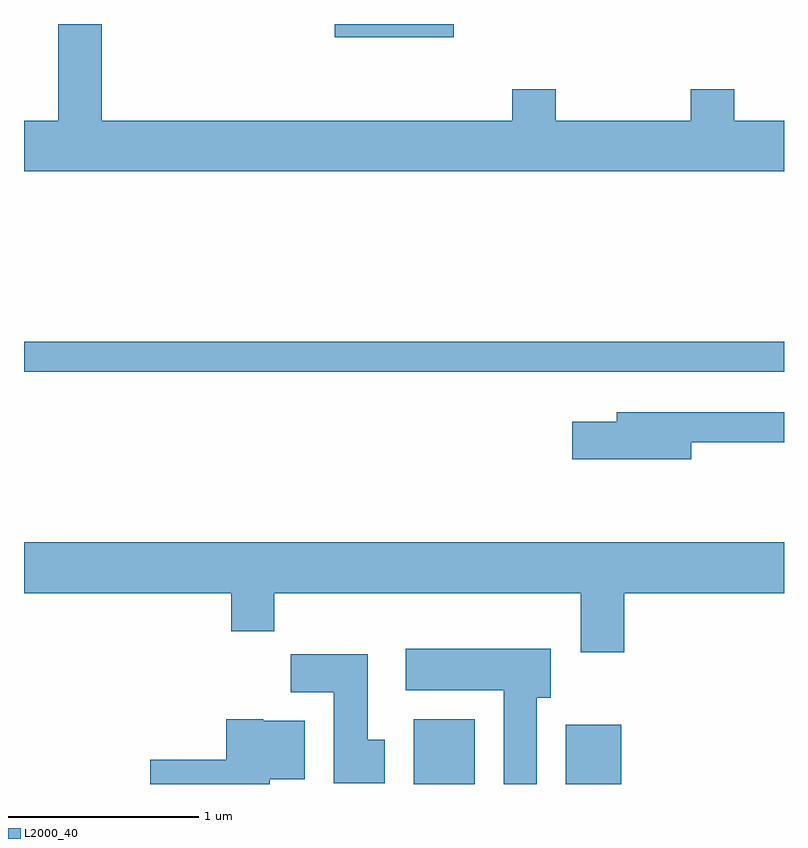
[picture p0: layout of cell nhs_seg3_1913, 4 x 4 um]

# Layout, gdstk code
import gdstk
lib = gdstk.Library(unit=1e-6, precision=1e-09)
def R(c, l, rs):  # rectangles x0, y0, x1, y1
    for r in rs: c.add(gdstk.rectangle(r[:2], r[2:], *l))
def P(c, l, *ps):  # polygons
    for p in ps: c.add(gdstk.Polygon(p, *l))
L2000_40 = (2000, 40)

nhs_seg3_1913 = lib.new_cell('nhs_seg3_1913')
R(nhs_seg3_1913, L2000_40, [(243.661,1133.892,243.984,1134.234), (244.461,1133.892,244.754,1134.204), (241.611,1136.061,245.611,1136.219), (243.246,1137.821,243.874,1137.892)])
P(nhs_seg3_1913, L2000_40, [(244.181,1137.549),(244.181,1137.384),(242.019,1137.384),(242.019,1137.892),(241.791,1137.892),(241.791,1137.384),(241.611,1137.384),(241.611,1137.116),(245.611,1137.116),(245.611,1137.384),(245.349,1137.384),(245.349,1137.549),(245.121,1137.549),(245.121,1137.384),(244.409,1137.384),(244.409,1137.549)],
  [(245.124,1135.691),(245.611,1135.691),(245.611,1135.849),(244.731,1135.849),(244.731,1135.799),(244.496,1135.799),(244.496,1135.601),(245.124,1135.601)],
  [(244.769,1134.896),(245.611,1134.896),(245.611,1135.164),(241.611,1135.164),(241.611,1134.896),(242.701,1134.896),(242.701,1134.696),(242.929,1134.696),(242.929,1134.896),(244.541,1134.896),(244.541,1134.586),(244.769,1134.586)],
  [(244.309,1134.346),(244.384,1134.346),(244.384,1134.604),(243.621,1134.604),(243.621,1134.386),(244.136,1134.386),(244.136,1133.892),(244.309,1133.892)],
  [(243.509,1134.124),(243.419,1134.124),(243.419,1134.574),(243.016,1134.574),(243.016,1134.376),(243.241,1134.376),(243.241,1133.896),(243.509,1133.896)],
  [(242.904,1133.916),(243.089,1133.916),(243.089,1134.224),(242.87,1134.224),(242.87,1134.234),(242.676,1134.234),(242.676,1134.019),(242.276,1134.019),(242.276,1133.892),(242.904,1133.892)])

lib.write_gds('nhs_seg3_1913.gds')
